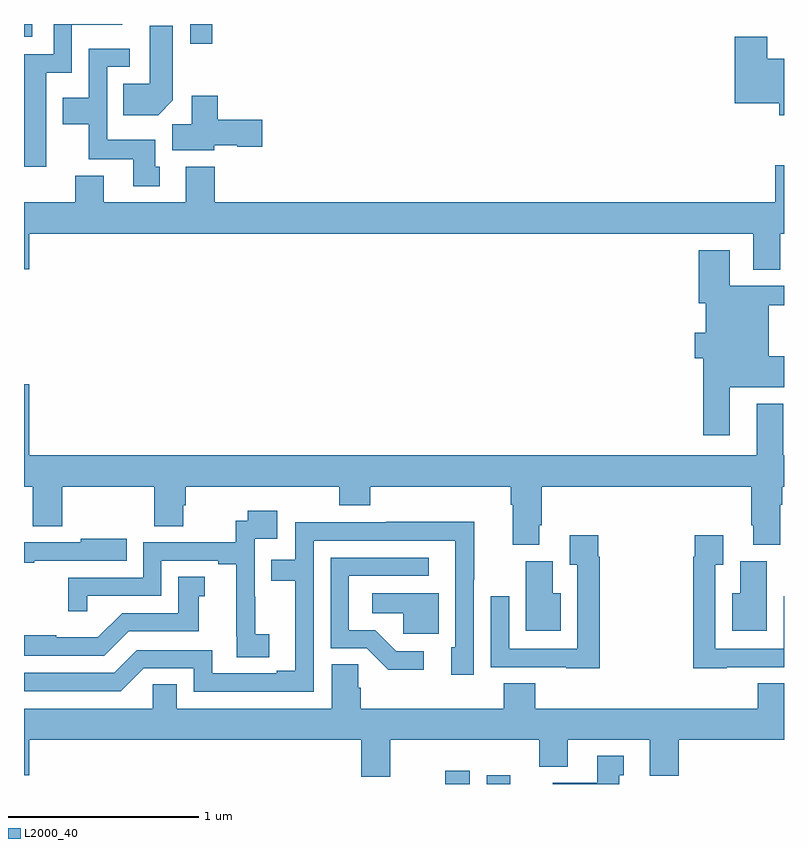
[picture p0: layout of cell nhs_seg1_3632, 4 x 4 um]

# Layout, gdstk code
import gdstk
lib = gdstk.Library(unit=1e-6, precision=1e-09)
def R(c, l, rs):  # rectangles x0, y0, x1, y1
    for r in rs: c.add(gdstk.rectangle(r[:2], r[2:], *l))
def P(c, l, *ps):  # polygons
    for p in ps: c.add(gdstk.Polygon(p, *l))
L2000_40 = (2000, 40)

nhs_seg1_3632 = lib.new_cell('nhs_seg1_3632')
R(nhs_seg1_3632, L2000_40, [(311.216,518.199,311.347,518.269), (311.435,518.199,311.56,518.245), (309.876,522.096,309.992,522.199), (309,522.132,309.043,522.199), (312.96,522.197,313,522.199)])
P(nhs_seg1_3632, L2000_40, [(309.118,521.942),(309.252,521.942),(309.252,522.194),(309.517,522.194),(309.517,522.199),(309.128,522.199),(309.128,522.198),(309.156,522.198),(309.156,522.039),(309,522.039),(309,521.448),(309.118,521.448)],
  [(309.784,521.798),(309.784,522.19),(309.662,522.19),(309.662,521.884),(309.523,521.884),(309.523,521.72),(309.706,521.72)],
  [(313,522.016),(312.913,522.016),(312.913,522.132),(312.74,522.132),(312.74,521.783),(312.974,521.783),(312.974,521.72),(313,521.72)],
  [(309.715,521.448),(309.691,521.448),(309.691,521.59),(309.438,521.59),(309.438,521.973),(309.556,521.973),(309.556,522.069),(309.342,522.069),(309.342,521.812),(309.203,521.812),(309.203,521.672),(309.34,521.672),(309.34,521.486),(309.575,521.486),(309.575,521.346),(309.715,521.346)],
  [(310.002,521.561),(310.122,521.561),(310.122,521.554),(310.255,521.554),(310.255,521.696),(310.019,521.696),(310.019,521.821),(309.884,521.821),(309.884,521.672),(309.779,521.672),(309.779,521.534),(310.002,521.534)],
  [(312.979,521.096),(313,521.096),(313,521.455),(312.953,521.455),(312.953,521.26),(310.004,521.26),(310.004,521.449),(309.851,521.449),(309.851,521.26),(309.421,521.26),(309.421,521.401),(309.269,521.401),(309.269,521.26),(309,521.26),(309,520.908),(309.028,520.908),(309.028,521.096),(312.839,521.096),(312.839,520.906),(312.979,520.906)],
  [(312.715,520.286),(313,520.286),(313,520.45),(312.919,520.45),(312.919,520.72),(313,520.72),(313,520.821),(312.715,520.821),(312.715,521.008),(312.551,521.008),(312.551,520.728),(312.587,520.728),(312.587,520.573),(312.53,520.573),(312.53,520.439),(312.575,520.439),(312.575,520.035),(312.715,520.035)],
  [(309.028,520.303),(309,520.303),(309,519.764),(309.047,519.764),(309.047,519.556),(309.2,519.556),(309.2,519.764),(309.686,519.764),(309.686,519.556),(309.838,519.556),(309.838,519.666),(309.851,519.666),(309.851,519.764),(310.658,519.764),(310.658,519.665),(310.823,519.665),(310.823,519.764),(311.561,519.764),(311.561,519.668),(311.573,519.668),(311.573,519.457),(311.713,519.457),(311.713,519.562),(311.726,519.562),(311.726,519.764),(312.827,519.764),(312.827,519.562),(312.839,519.562),(312.839,519.457),(312.979,519.457),(312.979,519.668),(312.992,519.668),(312.992,519.764),(313,519.764),(313,519.928),(312.997,519.928),(312.997,520.201),(312.857,520.201),(312.857,519.928),(309.028,519.928)],
  [(310.291,518.988),(310.217,518.988),(310.217,519.185),(310.215,519.185),(310.215,519.489),(310.333,519.489),(310.333,519.637),(310.177,519.637),(310.177,519.585),(310.114,519.585),(310.114,519.471),(309.627,519.471),(309.627,519.285),(309.232,519.285),(309.232,519.108),(309.333,519.108),(309.333,519.189),(309.723,519.189),(309.723,519.375),(310.022,519.375),(310.022,519.355),(310.118,519.355),(310.118,518.977),(310.12,518.977),(310.12,518.866),(310.291,518.866)],
  [(310.524,519.48),(311.271,519.48),(311.271,518.919),(311.249,518.919),(311.249,518.775),(311.367,518.775),(311.367,519.274),(311.369,519.274),(311.369,519.578),(310.906,519.578),(310.906,519.576),(310.428,519.576),(310.428,519.378),(310.3,519.378),(310.3,519.27),(310.427,519.27),(310.427,518.796),(310.331,518.796),(310.331,518.781),(309.99,518.781),(309.99,518.904),(309.594,518.904),(309.474,518.784),(309,518.784),(309,518.688),(309.51,518.688),(309.63,518.808),(309.894,518.808),(309.894,518.685),(310.524,518.685)],
  [(312.029,519.395),(312.022,519.395),(312.022,519.508),(311.873,519.508),(311.873,519.352),(311.913,519.352),(311.913,518.91),(311.553,518.91),(311.553,519.187),(311.457,519.187),(311.457,518.814),(311.853,518.814),(311.853,518.807),(312.029,518.807)],
  [(312.699,518.814),(313,518.814),(313,519.187),(312.999,519.187),(312.999,518.91),(312.639,518.91),(312.639,519.352),(312.679,519.352),(312.679,519.508),(312.531,519.508),(312.531,519.395),(312.523,519.395),(312.523,518.807),(312.699,518.807)],
  [(309.055,519.375),(309.542,519.375),(309.542,519.49),(309.299,519.49),(309.299,519.471),(309,519.471),(309,519.363),(309.055,519.363)],
  [(311.104,518.898),(310.959,518.898),(310.848,519.009),(310.71,519.009),(310.71,519.294),(311.131,519.294),(311.131,519.39),(310.614,519.39),(310.614,518.913),(310.803,518.913),(310.916,518.801),(311.104,518.801)],
  [(312.91,519.371),(312.77,519.371),(312.77,519.202),(312.728,519.202),(312.728,519.005),(312.91,519.005)],
  [(311.824,519.202),(311.782,519.202),(311.782,519.371),(311.642,519.371),(311.642,519.005),(311.824,519.005)],
  [(309.552,519.003),(309.919,519.003),(309.919,519.187),(309.952,519.187),(309.952,519.29),(309.812,519.29),(309.812,519.099),(309.516,519.099),(309.388,518.971),(309.17,518.971),(309.17,518.983),(309,518.983),(309,518.874),(309.423,518.874)],
  [(311.182,519.202),(310.833,519.202),(310.833,519.098),(310.995,519.098),(310.995,518.991),(311.182,518.991)],
  [(310.927,518.432),(311.711,518.432),(311.711,518.291),(311.863,518.291),(311.863,518.432),(312.293,518.432),(312.293,518.243),(312.446,518.243),(312.446,518.432),(313,518.432),(313,518.729),(312.863,518.729),(312.863,518.596),(311.69,518.596),(311.69,518.729),(311.525,518.729),(311.525,518.596),(310.772,518.596),(310.772,518.705),(310.758,518.705),(310.758,518.828),(310.619,518.828),(310.619,518.596),(309.805,518.596),(309.805,518.723),(309.678,518.723),(309.678,518.596),(309,518.596),(309,518.244),(309.028,518.244),(309.028,518.432),(310.775,518.432),(310.775,518.238),(310.927,518.238)],
  [(312.133,518.244),(312.157,518.244),(312.157,518.347),(312.017,518.347),(312.017,518.206),(311.782,518.206),(311.782,518.199),(312.133,518.199)])

lib.write_gds('nhs_seg1_3632.gds')
